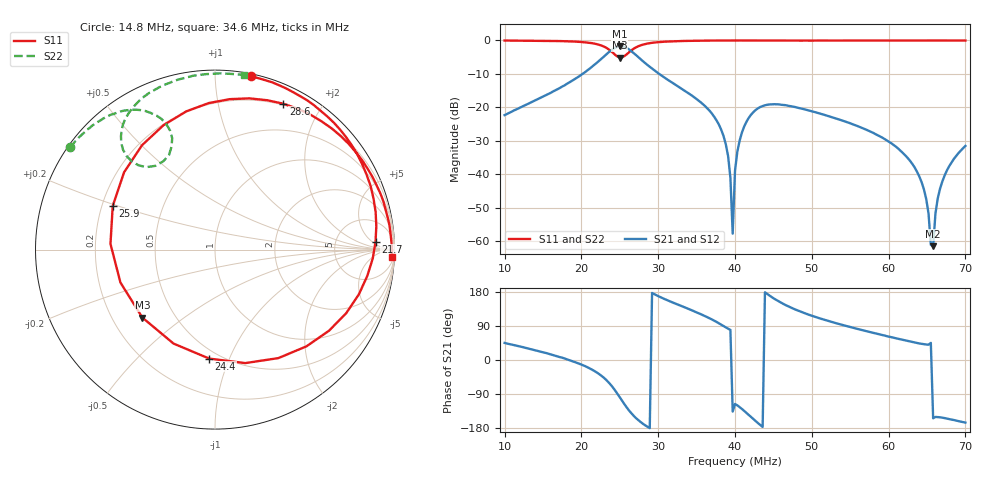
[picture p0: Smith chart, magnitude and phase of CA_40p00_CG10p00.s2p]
#  HZ  S  RI  R  50.00
! Rohde & Schwarz ZVT8 8Ports - Version 4.11 - 1300.0000k08 SN: 100242
! Date: 2026-07-31 14:47:24
! Measurements: S11 S21 S12 S22
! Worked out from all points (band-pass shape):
!   201 points, 10 MHz to 70 MHz, reference 50 ohm
!   highest |S21| = -1.78 dB at 25 MHz (marker M1); lowest = -61.5 dB at 65.8 MHz (marker M2)
!   |S21| within 3 dB of the highest: 22.95 MHz to 27.3 MHz (4.351 MHz wide, 17.3 % of centre)
!   lowest |S11| = -5.1 dB at 25 MHz (marker M3), VSWR 3.49, Z = 16.4 - j17.9 ohm
!   |S11| at or under -10 dB: nowhere
!   |S22| runs from -4.9 to 0.0 dB; largest |S21 - S12| = 0.0023
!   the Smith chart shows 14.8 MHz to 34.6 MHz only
!   S11 on the Smith chart (normalised r, x): 14.8 MHz: 0.02, +1.23; 21.7 MHz: 15, +7; 24.4 MHz: 0.44, -0.85; 25.9 MHz: 0.24, +0.19; 28.6 MHz: 0.19, +1.56; 34.6 MHz: 14, -43
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1e7  -0.3969 0.9133  0.054 0.0541  0.0537 0.0542  -0.9187 0.3855
1.48e7  0.1999 0.9663  0.1314 0.0511  0.1313 0.0516  -0.8081 0.5694
2.02e7  0.8442 0.4187  0.3098 -0.0756  0.3086 -0.0751  -0.5658 0.7555
2.17e7  0.8945 0.0445  0.3784 -0.2099  0.3786 -0.2087  -0.447 0.7797
2.44e7  -0.0325 -0.6071  0.1261 -0.7657  0.1266 -0.7648  -0.2419 0.5747
2.5e7  -0.4049 -0.3785  -0.119 -0.8058  -0.1193 -0.8063  -0.2875 0.4925
2.59e7  -0.5698 0.2428  -0.4425 -0.6288  -0.4419 -0.6303  -0.4246 0.4688
2.86e7  0.3808 0.8128  -0.4281 -0.0292  -0.4286 -0.0281  -0.48 0.7616
3.01e7  0.7012 0.6317  -0.3096 0.0682  -0.3094 0.0675  -0.3691 0.8714
3.46e7  0.9858 -0.0418  -0.0911 0.1114  -0.0912 0.1114  0.1592 0.9732
3.85e7  0.8435 -0.531  0.000229 0.0375  0.000267 0.0374  0.86 0.4977
3.94e7  0.7794 -0.6215  0.00163 0.00873  0.00153 0.00875  0.9723 0.1959
3.97e7  0.7569 -0.6508  -0.000932 -0.000896  -0.000946 -0.000895  0.988 0.0763
4e7  0.7314 -0.6782  -0.00497 -0.0101  -0.00512 -0.0101  0.9894 -0.054
4.33e7  0.4177 -0.9018  -0.1001 -0.0148  -0.0999 -0.0146  -0.1347 -0.9767
4.6e7  0.1277 -0.9835  -0.0958 0.0525  -0.0962 0.0528  -0.8953 -0.4192
5.02e7  -0.3338 -0.9371  -0.037 0.0776  -0.0372 0.0777  -0.9354 0.3309
6.01e7  -0.9872 -0.1289  0.0144 0.0266  0.0144 0.0265  -0.4228 0.9019
6.4e7  -0.9492 0.3003  0.0067 0.00638  0.00668 0.00639  -0.2271 0.9712
6.58e7  -0.8701 0.4852  -0.000755 -0.00037  -0.000764 -0.000381  -0.1401 0.9877
6.7e7  -0.7966 0.5986  -0.00691 -0.00364  -0.00689 -0.00363  -0.0825 0.9927
7e7  -0.549 0.8314  -0.0256 -0.00673  -0.0256 -0.0067  0.0576 0.9955
